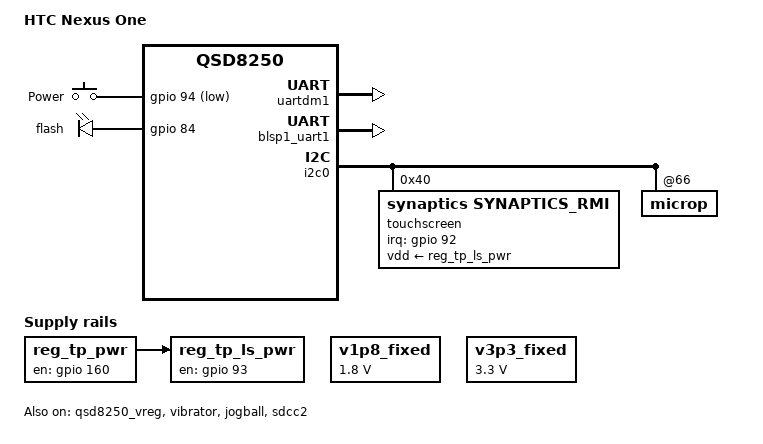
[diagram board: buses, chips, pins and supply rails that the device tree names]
// SPDX-License-Identifier: BSD-3-Clause
/*
 * Copyright (c) 2023, The Linux Foundation. All rights reserved.
 * Copyright (c) 2023, HTC Leo Revival Project. All rights reserved.
 */

#include "qcom-qsd8250.dtsi"

/ {
	model = "HTC Nexus One";
	compatible = "htc,passion", "qcom,qsd8250";
	chassis-type = "handset";

	aliases {
		serial0 = &blsp1_uart1;
		serial1 = &uartdm1;
	};

	chosen {
		/* Use efifb for video output, rodata=off is needed
		 * as the kernel doesn't boot with kernel memory 
		 * protection enabled
		 */
        bootargs = "video=efifb rodata=off";
		stdout-path = "serial0:115200n8";

	};

	reg_tp_pwr: regulator-tp-pwr {
		compatible = "regulator-fixed";
		regulator-name = "tp_pwr";
		gpio = <&gpio 160 GPIO_ACTIVE_HIGH>;
		enable-active-high;
		startup-delay-us = <120000>; /* 120ms delay required before enabling level shifters */
	};

	reg_tp_ls_pwr: regulator-tp-ls-pwr {
		compatible = "regulator-fixed";
		regulator-name = "tp_ls_pwr";
		gpio = <&gpio 93 GPIO_ACTIVE_HIGH>;
		enable-active-high;
		vin-supply = <&reg_tp_pwr>;
		startup-delay-us = <3000>;  /* 3ms settling delay */
	};

	v1p8_fixed: v1p8-fixed {
		compatible = "regulator-fixed";
		regulator-name = "usb-hs-v1p8";
		regulator-min-microvolt = <1800000>;
		regulator-max-microvolt = <1800000>;
		regulator-always-on;
	};

	v3p3_fixed: v3p3-fixed {
		compatible = "regulator-fixed";
		regulator-name = "usb-hs-v3p3";
		regulator-min-microvolt = <3300000>;
		regulator-max-microvolt = <3300000>;
		regulator-always-on;
	};

	gpio-keys {
		compatible = "gpio-keys";

		power {
			label = "Power";
			linux,code = <KEY_POWER>;
			gpios = <&gpio 94 GPIO_ACTIVE_LOW>;
		};
	};

	matrix_keys {
		compatible = "htc,qsd8250-matrix-keys";

		poll-interval = <20>;

		row-gpios = <&gpio 31 GPIO_ACTIVE_HIGH>,
	    			<&gpio 32 GPIO_ACTIVE_HIGH>,
	    			<&gpio 33 GPIO_ACTIVE_HIGH>;

		col-gpios = <&gpio 41 GPIO_ACTIVE_HIGH>,
	    			<&gpio 42 GPIO_ACTIVE_HIGH>;

		keymap {
			enter {
				row = <1>;
				col = <0>;
				linux,code = <KEY_ENTER>;
				active-low;
			};

			volume-up {
				row = <2>;
				col = <1>;
				linux,code = <KEY_VOLUMEUP>;
				active-low;
			};

			volume-down {
				row = <2>;
				col = <0>;
				linux,code = <KEY_VOLUMEDOWN>;
				active-low;
			};
		};
	};

	reserved-memory {
		#address-cells = <1>;
		#size-cells = <1>;
		ranges;

		appsbl: reserved@0 {
			reg = <0x00000000 0x00100000>;
			no-map;
		};

		smem_mem: memory@100000 {
			reg = <0x00100000 0x00100000>;
			no-map;
		};

		uefi_mem: memory@2c000000 {
			reg = <0x2c000000 0x00100000>;
			no-map;
		};

		display_reserved: framebuffer@3b00000 {
			reg = <0x3b00000 0x000c0000>;
			no-map;
		};

		ramoops@3a00000 {
			compatible = "ramoops";
			reg = <0x3a00000 0x40000>;
			// record-size = <0x10000>;
			console-size = <0x40000>;
		};
	};
};

	&qsd8250_vreg {
		status = "okay";

		gp2_jogball: gp2 {
			regulator-name = "gp2";
			qcom,vreg-id = <21>;
			regulator-min-microvolt = <2850000>;
			regulator-max-microvolt = <2850000>;
		};

		gp6_sdcard: gp6 {
			regulator-name = "gp6";
			qcom,vreg-id = <23>;
			regulator-min-microvolt = <2850000>;
			regulator-max-microvolt = <2850000>;
		};
	};



	&uartdm1 {
		status = "okay";
		clocks = <&qsd8250_clk 14>, <&qsd8250_clk 15>;
	};

	&blsp1_uart1 {
		status = "okay";
		interrupts = <0>;
		clocks = <&qsd8250_clk 1>;
	};

	&vibrator {
			enable-gpios = <&gpio 89 GPIO_ACTIVE_HIGH>;
			status = "okay";
	};

	&leds {
		status = "okay";
			flash {
				gpios = <&gpio 84 GPIO_ACTIVE_HIGH>;
			};
	};

	&qsd8250_clk {
		status = "okay";
    	qcom,clk-ids = <9 31 36 37 52 19 20 21 22 23 24 25 26 34 35>; // 0 1 2 3 4 5 6 7 8 9 10 11 12 14 15
		};

    &i2c0 {
		status = "okay";
        clocks = <&qsd8250_clk 0>;

		touchscreen@40 {
			compatible = "synaptics,synaptics_rmi";
			reg = <0x40>;
			interrupt-parent = <&gpio>;
			interrupts = <92 IRQ_TYPE_EDGE_FALLING>;
			vdd-supply = <&reg_tp_ls_pwr>;
			touchscreen-inverted-y;
			synaptics,sensitivity-adjust = /bits/ 8 <9>;
		};
		microp@66 {
			led@2 {
				status = "okay";
			};

			led@3 {
				status = "okay";
			};
        };
    };

&jogball {
		compatible = "htc,jogball";
		status = "okay";
		up-gpios    = <&gpio 38  0>;
		down-gpios  = <&gpio 37  0>;
		left-gpios  = <&gpio 145 0>;
		right-gpios = <&gpio 21  0>;
		vcc-supply = <&gp2_jogball>;
};

&sdcc2 {
	status = "okay";
	vmmc-supply = <&gp6_sdcard>;
	non-removable; 	// passions sdcard is not removable if you dont remove the battery so its kinda non removeable
};

&usb1 {
	clocks = <&qsd8250_clk 2>,
		 <&qsd8250_clk 3>;
	clock-names = "core", "iface";

	ulpi {

		usb1_phy: phy@0 {
			clocks = <&qsd8250_clk 5>,
			         <&sleep_clk>;
			clock-names = "ref", "sleep";

			v1p8-supply = <&v1p8_fixed>;
			v3p3-supply = <&v3p3_fixed>;
		};
	};
};

